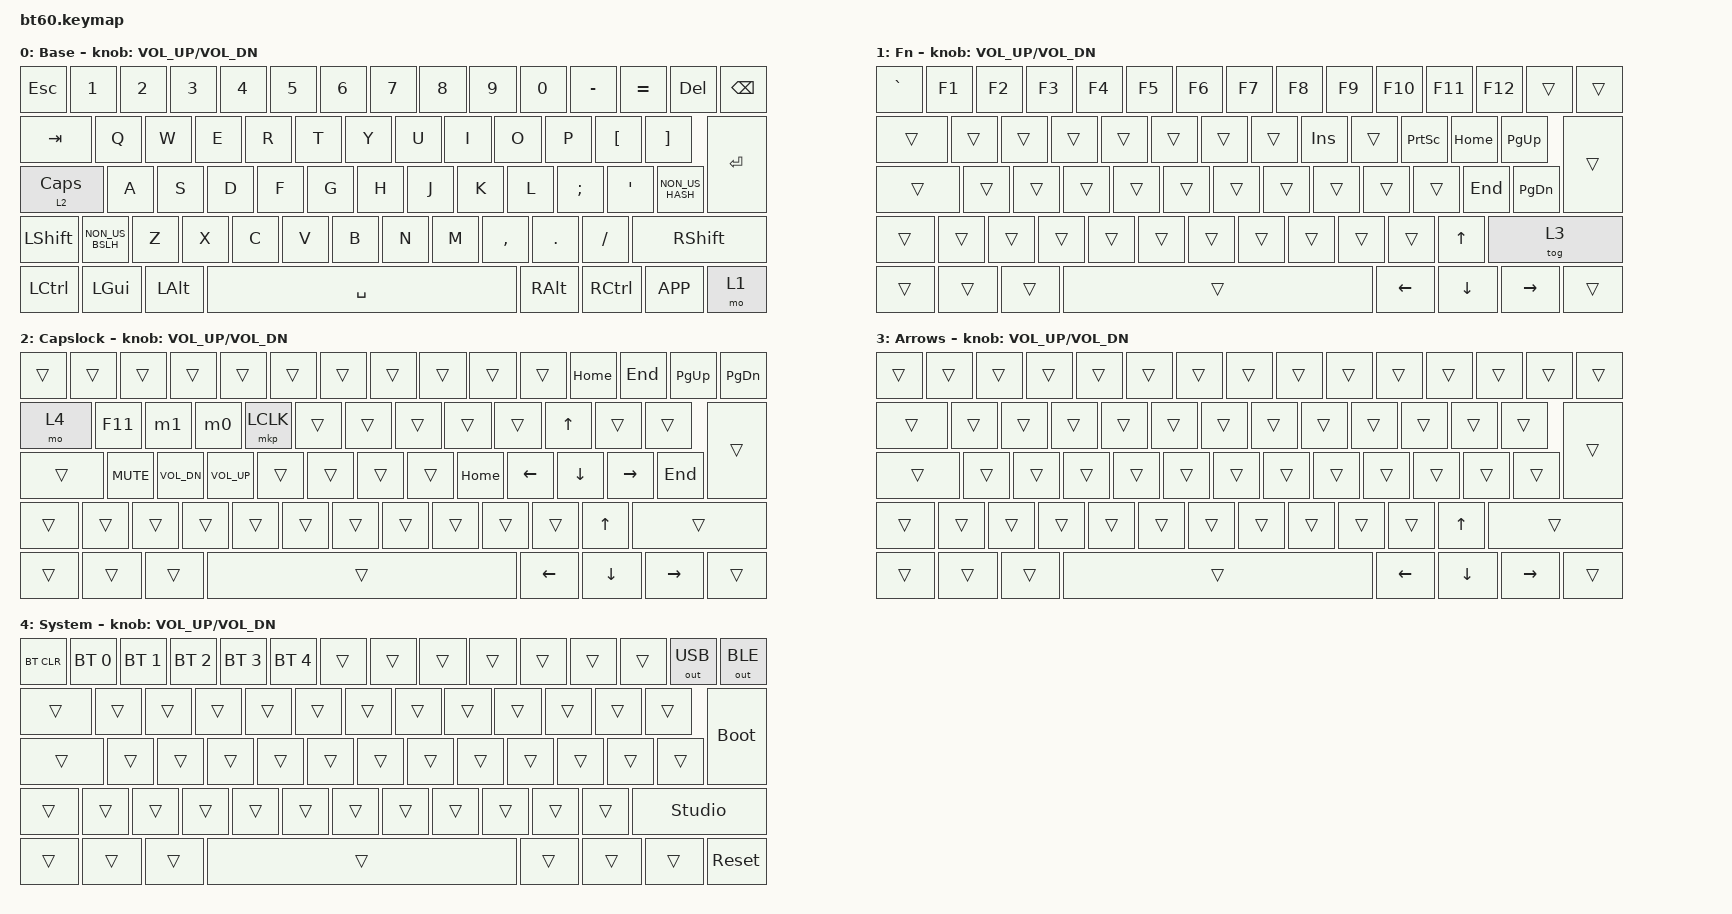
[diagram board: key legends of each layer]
#include <behaviors.dtsi>
#include <dt-bindings/zmk/outputs.h>
#include <dt-bindings/zmk/keys.h>
#include <dt-bindings/zmk/bt.h>
#include <dt-bindings/zmk/rgb.h>
#include <dt-bindings/zmk/backlight.h>
#include <dt-bindings/zmk/mouse.h>

/ {
    macros {
        m0: win+t {
                                compatible = "zmk,behavior-macro";
                                #binding-cells = <0>;
                                bindings
                                   = <&macro_press &kp LGUI &kp T>
                                   , <&macro_pause_for_release>
                                   , <&macro_release &kp LGUI &kp T>
                                   ;
//                              ┌─────┐         ┌───────┐   ┌─────┐ 
//                              │ m0  │ =       │  Win  │ + │  T  │
//                              └─────┘         └───────┘   └─────┘
        };
        m1: alt+f4 {
                                compatible = "zmk,behavior-macro";
                                #binding-cells = <0>;
                                bindings
                                   = <&macro_press &kp LALT &kp F4>
                                   , <&macro_pause_for_release>
                                   , <&macro_release &kp LALT &kp F4>
                                   ;
//                              ┌─────┐         ┌───────┐   ┌─────┐   
//                              │ m1  │ =       │  ALT  │ + │ F4  │  
//                              └─────┘         └───────┘   └─────┘     
        };
        m2: ctrl+bspc {
                                compatible = "zmk,behavior-macro";
                                #binding-cells = <0>;
                                bindings
                                   = <&macro_press &kp LCTRL &kp BSPC>
                                   , <&macro_pause_for_release>
                                   , <&macro_release &kp LCTRL &kp BSPC>
                                   ;
//                              ┌─────┐         ┌───────┐   ┌─────┐
//                              │ m3  │ =       │ LCTRL │ + │BSPC │ 
//                              └─────┘         └───────┘   └─────┘   
        };
    };
};


&lt {
    tapping-term-ms = <105>;
    flavor = "hold-preferred";
};

/ {
	keymap {
		compatible = "zmk,keymap";

		default {
            			display-name = "Base";

			        bindings = <
				&kp ESC &kp N1 &kp N2 &kp N3 &kp N4 &kp N5 &kp N6 &kp N7 &kp N8 &kp N9 &kp N0 &kp MINUS &kp EQUAL &kp DEL &kp BSPC
                                &kp TAB &kp Q &kp W &kp E &kp R &kp T &kp Y &kp U &kp I &kp O &kp P &kp LBKT &kp RBKT 
                                &lt 2 CLCK &kp A &kp S &kp D &kp F &kp G &kp H &kp J &kp K &kp L &kp SEMI &kp SQT &kp NON_US_HASH &kp RET 
                                &kp LSHIFT &kp NON_US_BSLH &kp Z &kp X &kp C &kp V &kp B &kp N &kp M &kp COMMA &kp DOT &kp FSLH &kp RSHIFT 
                                &kp LCTRL &kp LGUI &kp LALT &kp SPACE &kp RALT &kp RCTRL &kp K_APP &mo 1
			>;
			        sensor-bindings = <
                                &inc_dec_kp C_VOL_UP C_VOL_DN
                        >;
//                              ┌─────┬─────┬─────┬─────┬─────┬─────┬─────┬─────┬─────┬─────┬─────┬─────┬─────┬─────┬─────┐
//                              │ Esc │  1  │  2  │  3  │  4  │  5  │  6  │  7  │  8  │  9  │  0  │  ß  │  ´  │ DEL │BSPC │  15 keys
//                              ├─────┴──┬──┴──┬──┴──┬──┴──┬──┴──┬──┴──┬──┴──┬──┴──┬──┴──┬──┴──┬──┴──┬──┴──┬──┴──┬──┴─────┤
//                              │  TAB   │  Q  │  W  │  E  │  R  │  T  │  Y  │  U  │  I  │  O  │  P  │  [  │  ]  │        │  13 keys
//                              ├────────┴─┬───┴─┬───┴─┬───┴─┬───┴─┬───┴─┬───┴─┬───┴─┬───┴─┬───┴─┬───┴─┬───┴─┬───┴─┐      │
//                              │  CAPS 2  │  A  │  S  │  D  │  F  │  G  │  H  │  J  │  K  │  L  │  ;  │  '  │  #  │ENTER │  14 keys
//                              ├───────┬──┴──┬──┴──┬──┴──┬──┴──┬──┴──┬──┴──┬──┴──┬──┴──┬──┴──┬──┴──┬──┴──┬──┴─────┴──────┤
//                              │ SHIFT │  /  │  Z  │  x  │  C  │  V  │  B  │  N  │  M  │  ,  │  .  │  -  │     SHIFT     │  13 keys
//                              ├───────┼─────┴─┬───┴───┬─┴─────┴─────┴─────┴─────┴─────┴─┬───┴───┬─┴─────┼───────┬───────┤
//                              │ CTRL  │  WIN  │  ALT  │               SPACE             │ ALTGR │ CTRL  │ MENU  │   1   │  08 keys
//                              └───────┴───────┴───────┴─────────────────────────────────┴───────┴───────┴───────┴───────┘
		};




		fn {
            			display-name = "Fn";

			        bindings = <
				&kp GRAVE &kp F1 &kp F2 &kp F3 &kp F4 &kp F5 &kp F6 &kp F7 &kp F8 &kp F9 &kp F10 &kp F11 &kp F12 &trans &trans
                                &trans &trans &trans &trans &trans &trans &trans &trans &kp INS &trans &kp PSCRN &kp HOME &kp PG_UP
                                &trans &trans &trans &trans &trans &trans &trans &trans &trans &trans &trans &kp END &kp PG_DN &trans
                                &trans &trans &trans &trans &trans &trans &trans &trans &trans &trans &trans &kp UP_ARROW &tog 3 
                                &trans &trans &trans &trans &kp LEFT_ARROW &kp DOWN_ARROW &kp RIGHT_ARROW &trans
			>;
			        sensor-bindings = <
                                &inc_dec_kp C_VOL_UP C_VOL_DN
                        >;
//                              ┌─────┬─────┬─────┬─────┬─────┬─────┬─────┬─────┬─────┬─────┬─────┬─────┬─────┬─────┬─────┐
//                              │GRAVE│ F1  │ F2  │ F3  │ F4  │ F5  │ F6  │ F7  │ F8  │ F9  │ F10 │ F11 │ F12 │     │     │  15 keys
//                              ├─────┴──┬──┴──┬──┴──┬──┴──┬──┴──┬──┴──┬──┴──┬──┴──┬──┴──┬──┴──┬──┴──┬──┴──┬──┴──┬──┴─────┤
//                              │        │     │     │     │     │     │     │     │ INS │     │PSCRN│HOME │PGUP │        │  13 keys
//                              ├────────┴─┬───┴─┬───┴─┬───┴─┬───┴─┬───┴─┬───┴─┬───┴─┬───┴─┬───┴─┬───┴─┬───┴─┬───┴─┐      │
//                              │          │     │     │     │     │     │     │     │     │     │     │ END │PGDN │      │  14 keys
//                              ├───────┬──┴──┬──┴──┬──┴──┬──┴──┬──┴──┬──┴──┬──┴──┬──┴──┬──┴──┬──┴──┬──┴──┬──┴─────┴──────┤
//                              │       │     │     │     │     │     │     │     │     │     │     │ UP  │               │  13 keys
//                              ├───────┼─────┴─┬───┴───┬─┴─────┴─────┴─────┴─────┴─────┴─┬───┴───┬─┴─────┼───────┬───────┤
//                              │       │       │       │                                 │ LEFT  │ DOWN  │ RIGHT │       │  08 keys
//                              └───────┴───────┴───────┴─────────────────────────────────┴───────┴───────┴───────┴───────┘
		};




		capslock {
		            	display-name = "Capslock";

		      	        bindings = <
				&trans &trans &trans &trans &trans &trans &trans &trans &trans &trans &trans &kp HOME &kp END &kp PG_UP &kp PG_DN
                                &mo 4 &kp F11 &m1 &m0 &mkp LCLK &trans &trans &trans &trans &trans &kp UP_ARROW &trans &trans 
                                &trans &kp C_MUTE &kp C_VOL_DN &kp C_VOL_UP &trans &trans &trans &trans &kp HOME &kp LEFT_ARROW &kp DOWN_ARROW &kp RIGHT_ARROW &kp END &trans 
                                &trans &trans &trans &trans &trans &trans &trans &trans &trans &trans &trans &kp UP_ARROW &trans 
                                &trans &trans &trans &trans &kp LEFT_ARROW &kp DOWN_ARROW &kp RIGHT_ARROW &trans
			>;
			        sensor-bindings = <
                                &inc_dec_kp C_VOL_UP C_VOL_DN
                        >;
//                              ┌─────┬─────┬─────┬─────┬─────┬─────┬─────┬─────┬─────┬─────┬─────┬─────┬─────┬─────┬─────┐
//                              │     │     │     │     │     │     │     │     │     │     │     │HOME │ END │PGUP │PGDN │  15 keys
//                              ├─────┴──┬──┴──┬──┴──┬──┴──┬──┴──┬──┴──┬──┴──┬──┴──┬──┴──┬──┴──┬──┴──┬──┴──┬──┴──┬──┴─────┤
//                              │   4    │ F11 │ M1  │ M0  │LCLK │     │     │     │     │     │ UP  │     │     │        │  13 keys
//                              ├────────┴─┬───┴─┬───┴─┬───┴─┬───┴─┬───┴─┬───┴─┬───┴─┬───┴─┬───┴─┬───┴─┬───┴─┬───┴─┐      │
//                              │          │MUTE │VOLDN│VOLUP│     │     │     │     │HOME │LEFT │DOWN │RIGHT│END  │      │  14 keys
//                              ├───────┬──┴──┬──┴──┬──┴──┬──┴──┬──┴──┬──┴──┬──┴──┬──┴──┬──┴──┬──┴──┬──┴──┬──┴─────┴──────┤
//                              │       │     │     │     │     │     │     │     │     │     │     │ UP  │               │  13 keys
//                              ├───────┼─────┴─┬───┴───┬─┴─────┴─────┴─────┴─────┴─────┴─┬───┴───┬─┴─────┼───────┬───────┤
//                              │       │       │       │                                 │ LEFT  │ DOWN  │ RIGHT │       │  08 keys
//                              └───────┴───────┴───────┴─────────────────────────────────┴───────┴───────┴───────┴───────┘
		};




		arrows {
		            	display-name = "Arrows";

		 	        bindings = <
				&trans &trans &trans &trans &trans &trans &trans &trans &trans &trans &trans &trans &trans &trans &trans
                                &trans &trans &trans &trans &trans &trans &trans &trans &trans &trans &trans &trans &trans 
                                &trans &trans &trans &trans &trans &trans &trans &trans &trans &trans &trans &trans &trans &trans
                                &trans &trans &trans &trans &trans &trans &trans &trans &trans &trans &trans &kp UP &trans 
                                &trans &trans &trans &trans &kp LEFT &kp DOWN &kp RIGHT &trans
			>;
		        	sensor-bindings = <
                                &inc_dec_kp C_VOL_UP C_VOL_DN
                        >;
//                              ┌─────┬─────┬─────┬─────┬─────┬─────┬─────┬─────┬─────┬─────┬─────┬─────┬─────┬─────┬─────┐
//                              │     │     │     │     │     │     │     │     │     │     │     │     │     │     │     │  15 keys
//                              ├─────┴──┬──┴──┬──┴──┬──┴──┬──┴──┬──┴──┬──┴──┬──┴──┬──┴──┬──┴──┬──┴──┬──┴──┬──┴──┬──┴─────┤
//                              │        │     │     │     │     │     │     │     │     │     │     │     │     │        │  13 keys
//                              ├────────┴─┬───┴─┬───┴─┬───┴─┬───┴─┬───┴─┬───┴─┬───┴─┬───┴─┬───┴─┬───┴─┬───┴─┬───┴─┐      │
//                              │          │     │     │     │     │     │     │     │     │     │     │     │     │      │  14 keys
//                              ├───────┬──┴──┬──┴──┬──┴──┬──┴──┬──┴──┬──┴──┬──┴──┬──┴──┬──┴──┬──┴──┬──┴──┬──┴─────┴──────┤
//                              │       │     │     │     │     │     │     │     │     │     │     │ UP  │               │  13 keys
//                              ├───────┼─────┴─┬───┴───┬─┴─────┴─────┴─────┴─────┴─────┴─┬───┴───┬─┴─────┼───────┬───────┤
//                              │       │       │       │                                 │ LEFT  │ DOWN  │ RIGHT │       │  08 keys
//                              └───────┴───────┴───────┴─────────────────────────────────┴───────┴───────┴───────┴───────┘
		};




		system {
		            	display-name = "System";

			        bindings = <
				&bt BT_CLR &bt BT_SEL 0 &bt BT_SEL 1 &bt BT_SEL 2 &bt BT_SEL 3 &bt BT_SEL 4 &trans &trans &trans &trans &trans &trans &trans &out OUT_USB &out OUT_BLE
                                &trans &trans &trans &trans &trans &trans &trans &trans &trans &trans &trans &trans &trans 
                                &trans &trans &trans &trans &trans &trans &trans &trans &trans &trans &trans &trans &trans &bootloader
                                &trans &trans &trans &trans &trans &trans &trans &trans &trans &trans &trans &trans &studio_unlock

                                &trans &trans &trans &trans &trans &trans &trans &sys_reset
			>;
			        sensor-bindings = <
                                &inc_dec_kp C_VOL_UP C_VOL_DN
                        >;
//                              ┌─────┬─────┬─────┬─────┬─────┬─────┬─────┬─────┬─────┬─────┬─────┬─────┬─────┬─────┬─────┐
//                              │BTCLR│ BT0 │ BT1 │ BT2 │ BT3 │ BT4 │     │     │     │     │     │     │     │ USB │ BLE │  15 keys
//                              ├─────┴──┬──┴──┬──┴──┬──┴──┬──┴──┬──┴──┬──┴──┬──┴──┬──┴──┬──┴──┬──┴──┬──┴──┬──┴──┬──┴─────┤
//                              │        │     │     │     │     │     │     │     │     │     │     │     │     │        │  13 keys
//                              ├────────┴─┬───┴─┬───┴─┬───┴─┬───┴─┬───┴─┬───┴─┬───┴─┬───┴─┬───┴─┬───┴─┬───┴─┬───┴─┐      │
//                              │          │     │     │     │     │     │     │     │     │     │     │     │     │BOOTL │  14 keys
//                              ├───────┬──┴──┬──┴──┬──┴──┬──┴──┬──┴──┬──┴──┬──┴──┬──┴──┬──┴──┬──┴──┬──┴──┬──┴─────┴──────┤
//                              │       │     │     │     │     │     │     │     │     │     │     │     │ STUDIO_UNLOCK │  13 keys
//                              ├───────┼─────┴─┬───┴───┬─┴─────┴─────┴─────┴─────┴─────┴─┬───┴───┬─┴─────┼───────┬───────┤
//                              │       │       │       │                                 │       │       │       │ RESET │  08 keys
//                              └───────┴───────┴───────┴─────────────────────────────────┴───────┴───────┴───────┴───────┘
		};

       		extra1 {
            			status = "reserved";
        	};
       		extra2 {
            			status = "reserved";
        	};
       		extra3 {
            			status = "reserved";
        	};
       		extra4 {
            			status = "reserved";
        	};

	};
};


